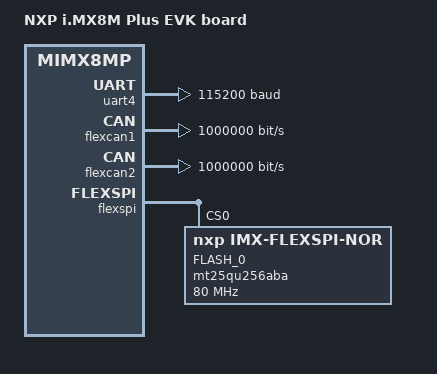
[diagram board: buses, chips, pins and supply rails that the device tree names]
/*
 * Copyright (c) 2021, Laird Connectivity
 *
 * SPDX-License-Identifier: Apache-2.0
 */

/dts-v1/;

#include <nxp/nxp_imx8ml_m7.dtsi>

/ {
	model = "NXP i.MX8M Plus EVK board";
	compatible = "nxp,mimx8mp_evk";

	chosen {
		/* TCM */
		zephyr,flash = &itcm;
		zephyr,sram = &dtcm;

		zephyr,console = &uart4;
		zephyr,shell-uart = &uart4;

		zephyr,flash-controller = &flexspi;
		zephyr,flash = &mt25qu256aba;
		zephyr,canbus = &flexcan1;
		zephyr,can-primary = &flexcan1;
	};
};

&uart4 {
	status = "okay";
	current-speed = <115200>;
};

&gpio3 {
	status = "okay";
};

&mailbox0 {
	status = "okay";
};

&flexcan1 {
	bus-speed = <1000000>;
};

&flexcan2 {
	bus-speed = <1000000>;
};

&flexspi {
	mt25qu256aba: mt25qu256aba@0 {
		compatible = "nxp,imx-flexspi-nor", "jedec,spi-nor";
		reg = <0>;
		spi-max-frequency = <80000000>;
		status = "okay";
		jedec-id = [bb 19 20];
		size = <DT_SIZE_M(32)>;
		label = "FLASH_0";
	};
};
